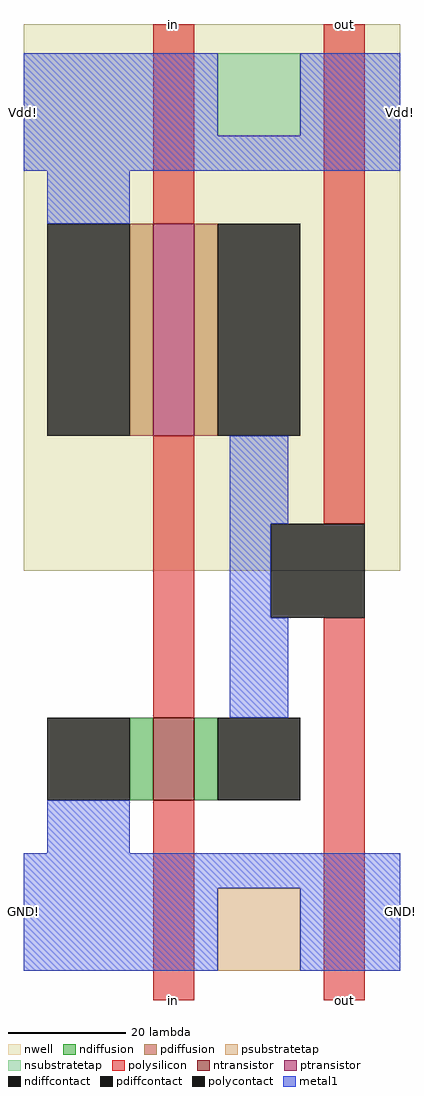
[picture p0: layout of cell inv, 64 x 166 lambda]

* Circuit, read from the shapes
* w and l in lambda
.subckt inv GND! Vdd! in out
M1 out in GND! VSUBS nfet w=14 l=7
M2 out in Vdd! n1 pfet w=36 l=7
.ends

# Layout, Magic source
magic
tech c35b4
<< nwell >>
rect 0 73 64 166
<< polysilicon >>
rect 22 132 29 166
rect 22 48 29 96
rect 51 81 58 166
rect 22 0 29 34
rect 51 0 58 65
<< ndiffusion >>
rect 18 34 22 48
rect 29 34 33 48
<< pdiffusion >>
rect 18 96 22 132
rect 29 96 33 132
<< ntransistor >>
rect 22 34 29 48
<< ptransistor >>
rect 22 96 29 132
<< polycontact >>
rect 42 65 58 81
<< ndiffcontact >>
rect 4 34 18 48
rect 33 34 47 48
<< pdiffcontact >>
rect 4 96 18 132
rect 33 96 47 132
<< psubstratetap >>
rect 33 5 47 19
<< nsubstratetap >>
rect 33 147 47 161
<< metal1 >>
rect 0 147 33 161
rect 47 147 64 161
rect 0 141 64 147
rect 4 132 18 141
rect 35 81 45 96
rect 35 65 42 81
rect 35 48 45 65
rect 4 25 18 34
rect 0 19 64 25
rect 0 5 33 19
rect 47 5 64 19
<< labels >>
rlabel metal1 0 141 0 161 3 Vdd!
rlabel metal1 0 5 0 25 3 GND!
rlabel metal1 64 5 64 25 7 GND!
rlabel polysilicon 22 166 29 166 5 in
rlabel polysilicon 51 166 58 166 5 out
rlabel polysilicon 22 0 29 0 1 in
rlabel polysilicon 51 0 58 0 1 out
rlabel metal1 64 141 64 161 7 Vdd!
<< end >>
